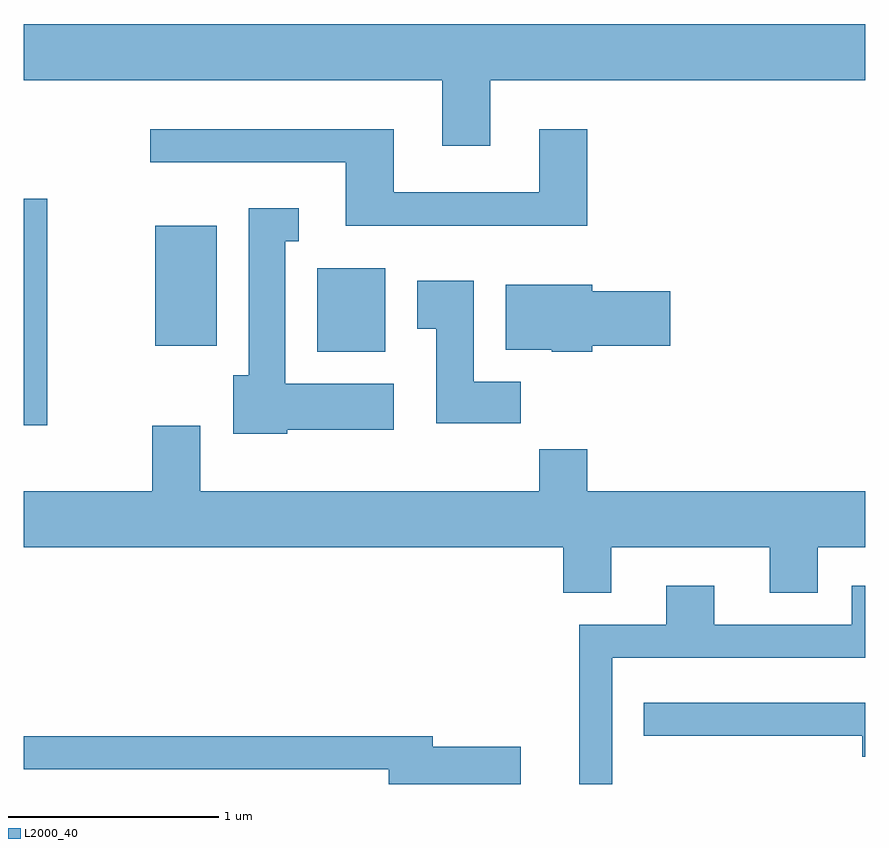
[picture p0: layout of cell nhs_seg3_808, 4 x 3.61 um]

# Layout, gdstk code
import gdstk
lib = gdstk.Library(unit=1e-6, precision=1e-09)
def R(c, l, rs):  # rectangles x0, y0, x1, y1
    for r in rs: c.add(gdstk.rectangle(r[:2], r[2:], *l))
def P(c, l, *ps):  # polygons
    for p in ps: c.add(gdstk.Polygon(p, *l))
L2000_40 = (2000, 40)

nhs_seg3_808 = lib.new_cell('nhs_seg3_808')
R(nhs_seg3_808, L2000_40, [(207.611,1237.596,207.724,1238.674), (209.006,1237.946,209.329,1238.344), (208.236,1237.976,208.529,1238.544)])
P(nhs_seg3_808, L2000_40, [(209.829,1239.236),(211.611,1239.236),(211.611,1239.504),(207.611,1239.504),(207.611,1239.236),(209.601,1239.236),(209.601,1238.926),(209.829,1238.926)],
  [(210.289,1239.004),(210.061,1239.004),(210.061,1238.704),(209.369,1238.704),(209.369,1239.004),(208.213,1239.004),(208.213,1238.846),(209.141,1238.846),(209.141,1238.546),(210.289,1238.546)],
  [(208.864,1237.576),(209.369,1237.576),(209.369,1237.794),(208.854,1237.794),(208.854,1238.471),(208.918,1238.471),(208.918,1238.629),(208.681,1238.629),(208.681,1237.834),(208.606,1237.834),(208.606,1237.556),(208.864,1237.556)],
  [(209.974,1237.804),(209.749,1237.804),(209.749,1238.284),(209.481,1238.284),(209.481,1238.056),(209.571,1238.056),(209.571,1237.606),(209.974,1237.606)],
  [(210.314,1237.976),(210.684,1237.976),(210.684,1238.234),(210.314,1238.234),(210.314,1238.264),(209.901,1238.264),(209.901,1237.956),(210.12,1237.956),(210.12,1237.946),(210.314,1237.946)],
  [(210.404,1237.016),(211.156,1237.016),(211.156,1236.801),(211.384,1236.801),(211.384,1237.016),(211.611,1237.016),(211.611,1237.284),(210.289,1237.284),(210.289,1237.484),(210.061,1237.484),(210.061,1237.284),(208.449,1237.284),(208.449,1237.594),(208.221,1237.594),(208.221,1237.284),(207.611,1237.284),(207.611,1237.016),(210.176,1237.016),(210.176,1236.801),(210.404,1236.801)],
  [(210.409,1236.491),(211.611,1236.491),(211.611,1236.834),(211.546,1236.834),(211.546,1236.649),(210.894,1236.649),(210.894,1236.834),(210.666,1236.834),(210.666,1236.649),(210.251,1236.649),(210.251,1235.892),(210.409,1235.892)],
  [(211.611,1236.279),(210.558,1236.279),(210.558,1236.121),(211.596,1236.121),(211.596,1236.021),(211.611,1236.021)],
  [(209.974,1236.069),(209.554,1236.069),(209.554,1236.119),(207.611,1236.119),(207.611,1235.961),(209.346,1235.961),(209.346,1235.892),(209.974,1235.892)])

lib.write_gds('nhs_seg3_808.gds')
